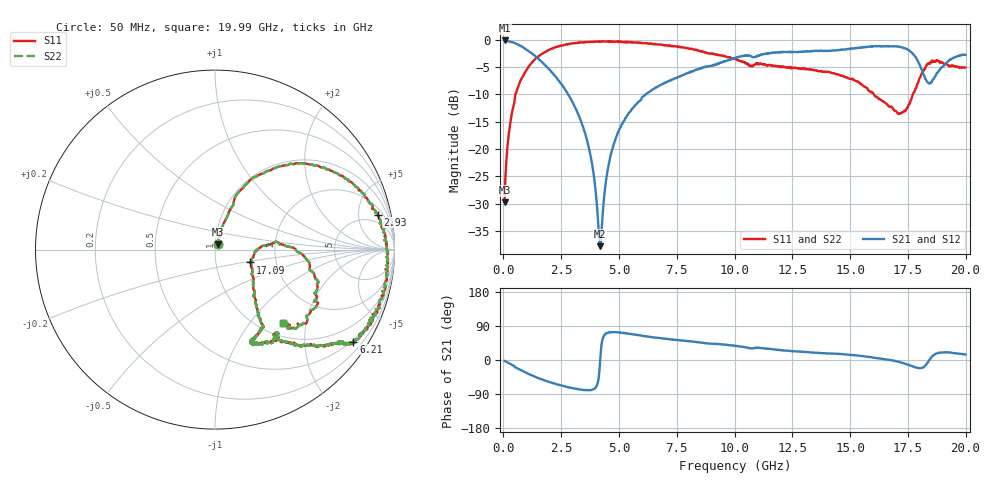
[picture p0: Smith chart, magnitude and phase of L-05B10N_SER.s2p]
! Data Taken on a HP 8720C VNA using a series-through fixture with TRL* de-embedding
#	mhz	s	ma	r	50
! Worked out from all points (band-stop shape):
!   998 points, 50 MHz to 19.99 GHz, reference 50 ohm
!   highest |S21| = -0.10 dB at 50 MHz (marker M1); lowest = -37.8 dB at 4.19 GHz (marker M2)
!   |S21| within 3 dB of the highest: start of sweep to 1.419 GHz; 10.91 GHz to 17.83 GHz (6.916 GHz wide, 48.1 % of centre) (the widest 2 of 4)
!   lowest |S11| = -29.8 dB at 50 MHz (marker M3), VSWR 1.07, Z = 51.4 + j3 ohm
!   |S11| at or under -10 dB: start of sweep to 516.6 MHz; 16.03 GHz to 17.71 GHz (1.68 GHz wide, 9.96 % of centre)
!   |S22| runs from -29.8 to -0.2 dB; largest |S21 - S12| = 0
!   S11 on the Smith chart (normalised r, x): 50 MHz: 1.03, +0.06; 2.93 GHz: 3.02, +8.32; 6.21 GHz: 0.45, -3.25; 17.09 GHz: 1.47, -0.22; 19.99 GHz: 1.25, -1.49
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50  0.03248 63.7  0.9882 -2.6  0.9882 -2.6  0.03248 63.7
310  0.1806 70.5  0.9597 -10.9  0.9597 -10.9  0.1806 70.5
750  0.4282 63.5  0.8766 -26.7  0.8766 -26.7  0.4282 63.5
1570  0.7216 40.7  0.6546 -49.4  0.6546 -49.4  0.7216 40.7
2930  0.9265 12.1  0.2834 -73.6  0.2834 -73.6  0.9265 12.1
3390  0.9475 4.5  0.1709 -78.6  0.1709 -78.6  0.9475 4.5
3830  0.9601 -1.8  0.07378 -78.8  0.07378 -78.8  0.9601 -1.8
4190  0.9677 -7.6  0.01288 3.5  0.01288 3.5  0.9677 -7.6
4490  0.9716 -12.3  0.06087 71.4  0.06087 71.4  0.9716 -12.3
4810  0.9626 -17.5  0.117 73.5  0.117 73.5  0.9626 -17.5
6210  0.926 -33.6  0.3213 62.0  0.3213 62.0  0.926 -33.6
6710  0.9076 -35.2  0.3771 58.3  0.3771 58.3  0.9076 -35.2
10030  0.6666 -51.2  0.6859 37.7  0.6859 37.7  0.6666 -51.2
12070  0.5618 -68.0  0.7682 25.4  0.7682 25.4  0.5618 -68.0
13350  0.5294 -64.3  0.788 19.4  0.788 19.4  0.5294 -64.3
15150  0.4324 -55.5  0.8331 12.5  0.8331 12.5  0.4324 -55.5
16670  0.2464 -33.7  0.8719 0.6  0.8719 0.6  0.2464 -33.7
17090  0.2096 -19.9  0.8678 -4.7  0.8678 -4.7  0.2096 -19.9
17890  0.3825 4.0  0.6627 -20.3  0.6627 -20.3  0.3825 4.0
18390  0.6057 -19.3  0.4029 -3.5  0.4029 -3.5  0.6057 -19.3
18930  0.6311 -42.3  0.5551 19.8  0.5551 19.8  0.6311 -42.3
19990  0.5594 -47.1  0.7307 14.5  0.7307 14.5  0.5594 -47.1
